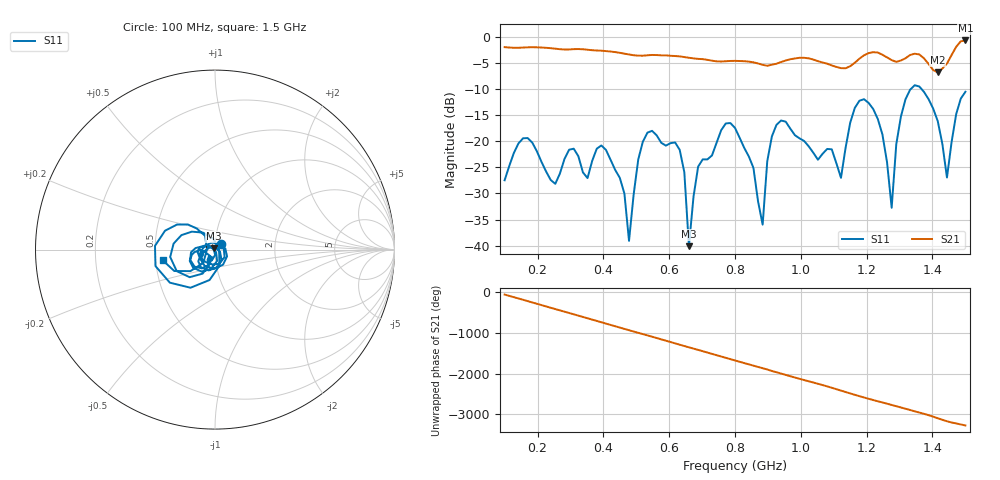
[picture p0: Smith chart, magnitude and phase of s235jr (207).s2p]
! NanoVNA-App
! Date: 2025-09-25 15:05:46
! Start: 100MHz Stop: 1,5GHz Points: 101
! S-Parameter data: F S11 S21 S12 S22
# Hz S RI R 50
!  Frequency  S11_Real  S11_Imag  S21_Real  S21_Imag  S12_Real  S12_Imag  S22_Real  S22_Imag
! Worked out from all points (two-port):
!   101 points, 100 MHz to 1.5 GHz, reference 50 ohm
!   highest |S21| = -0.68 dB at 1.5 GHz (marker M1); lowest = -6.8 dB at 1.416 GHz (marker M2)
!   |S21| within 3 dB of the highest: start of sweep to 621.5 MHz; 1.189 GHz to 1.255 GHz (66.53 MHz wide, 5.44 % of centre) (the widest 2 of 4)
!   lowest |S11| = -40.1 dB at 660 MHz (marker M3), VSWR 1.02, Z = 49.2 + j0.63 ohm
!   |S11| at or under -10 dB: start of sweep to 1.334 GHz; 1.367 GHz to end of sweep
!   S12 and S22 are empty: the file has one direction only
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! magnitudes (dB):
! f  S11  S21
! 100 MHz  -27.5  -2.0
! 156 MHz  -19.4  -2.0
! 338 MHz  -26.0  -2.4
! 408 MHz  -21.6  -2.7
! 478 MHz  -39.1  -3.4
! 520 MHz  -20.1  -3.6
! 576 MHz  -20.3  -3.5
! 632 MHz  -21.6  -3.7
! 660 MHz  -40.1  -4.0
! 688 MHz  -24.9  -4.2
! 800 MHz  -17.4  -4.6
! 884 MHz  -36.0  -5.3
! 926 MHz  -16.8  -5.1
! 1.038 GHz  -22.2  -4.3
! 1.122 GHz  -27.0  -6.0
! 1.192 GHz  -11.9  -3.5
! 1.248 GHz  -18.7  -3.4
! 1.276 GHz  -32.7  -4.4
! 1.332 GHz  -10.1  -3.5
! 1.416 GHz  -16.1  -6.8
! 1.444 GHz  -26.9  -5.1
! 1.5 GHz  -10.5  -0.7
